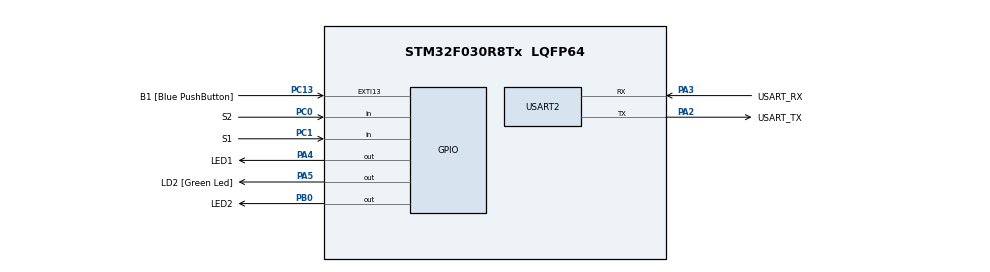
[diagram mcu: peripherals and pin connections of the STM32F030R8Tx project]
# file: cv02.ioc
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Mcu.Family=STM32F0
Mcu.Name=STM32F030R8Tx
Mcu.Package=LQFP64
PA13.GPIO_Label=TMS
PA13.Mode=Serial_Wire
PA13.Signal=SYS_SWDIO
PA14.GPIO_Label=TCK
PA14.Mode=Serial_Wire
PA14.Signal=SYS_SWCLK
PA2.GPIO_Label=USART_TX
PA2.GPIO_Mode=GPIO_MODE_AF_PP
PA2.GPIO_PuPd=GPIO_NOPULL
PA2.GPIO_Speed=GPIO_SPEED_FREQ_LOW
PA2.Mode=Asynchronous
PA2.Signal=USART2_TX
PA3.GPIO_Label=USART_RX
PA3.GPIO_Mode=GPIO_MODE_AF_PP
PA3.GPIO_PuPd=GPIO_NOPULL
PA3.GPIO_Speed=GPIO_SPEED_FREQ_LOW
PA3.Mode=Asynchronous
PA3.Signal=USART2_RX
PA4.GPIO_Label=LED1
PA4.Signal=GPIO_Output
PA5.GPIO_Label=LD2 [Green Led]
PA5.GPIO_Mode=GPIO_MODE_OUTPUT_PP
PA5.GPIO_PuPd=GPIO_NOPULL
PA5.GPIO_Speed=GPIO_SPEED_FREQ_LOW
PA5.Signal=GPIO_Output
PB0.GPIO_Label=LED2
PB0.Signal=GPIO_Output
PC0.GPIO_Label=S2
PC0.Signal=GPIO_Input
PC1.GPIO_Label=S1
PC1.GPIO_PuPd=GPIO_PULLUP
PC1.Signal=GPIO_Input
PC13.GPIO_Label=B1 [Blue PushButton]
PC13.GPIO_ModeDefaultEXTI=GPIO_MODE_IT_FALLING
PC13.Signal=GPXTI13
PC14-OSC32_IN.Mode=LSE-External-Oscillator
PC14-OSC32_IN.Signal=RCC_OSC32_IN
PC15-OSC32_OUT.Mode=LSE-External-Oscillator
PC15-OSC32_OUT.Signal=RCC_OSC32_OUT
PF0-OSC_IN.Mode=HSE-External-Clock-Source
PF0-OSC_IN.Signal=RCC_OSC_IN
PF1-OSC_OUT.Signal=RCC_OSC_OUT
ProjectManager.HeapSize=0x200
ProjectManager.StackSize=0x400
ProjectManager.TargetToolchain=STM32CubeIDE
RCC.AHBFreq_Value=48000000
RCC.APB1Freq_Value=48000000
RCC.APB1TimFreq_Value=48000000
RCC.HCLKFreq_Value=48000000
RCC.PLLMUL=RCC_PLL_MUL12
RCC.SYSCLKFreq_VALUE=48000000
RCC.SYSCLKSource=RCC_SYSCLKSOURCE_PLLCLK
USART2.VirtualMode-Asynchronous=VM_ASYNC
board=NUCLEO-F030R8

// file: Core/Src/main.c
/* USER CODE BEGIN Header */
/**
  ******************************************************************************
  * @file           : main.c
  * @brief          : Main program body
  ******************************************************************************
  * @attention
  *
  * Copyright (c) 2023 STMicroelectronics.
  * All rights reserved.
  *
  * This software is licensed under terms that can be found in the LICENSE file
  * in the root directory of this software component.
  * If no LICENSE file comes with this software, it is provided AS-IS.
  *
  ******************************************************************************
  */
/* USER CODE END Header */
#include "main.h"

/* USER CODE BEGIN PD */
#define LED_TIME_BLINK 300 // direktiva pre preprocesor, nahradzuje text v ramci zdrojoveho kodu a prepisuje ho na definovanú hodnotu
#define LED_TIME_LONG 1000
#define LED_TIME_SHORT 100
#define BTN_PERIOD_S2 40
#define BTN_PERIOD_S1 5
/* USER CODE END PD */

void SystemClock_Config(void);
static void MX_GPIO_Init(void);
static void MX_USART2_UART_Init(void);

/* USER CODE BEGIN 0 */
volatile uint32_t Tick;
/* USER CODE END 0 */

int main(void)
{

  /* MCU Configuration--------------------------------------------------------*/

  /* Reset of all peripherals, Initializes the Flash interface and the Systick. */
  LL_APB1_GRP2_EnableClock(LL_APB1_GRP2_PERIPH_SYSCFG);
  LL_APB1_GRP1_EnableClock(LL_APB1_GRP1_PERIPH_PWR);

  /* Configure the system clock */
  SystemClock_Config();

  /* Initialize all configured peripherals */
  MX_GPIO_Init();
  MX_USART2_UART_Init();
  /* USER CODE BEGIN 2 */
  LL_SYSTICK_EnableIT();
  /* USER CODE END 2 */

  /* Infinite loop */
  /* USER CODE BEGIN WHILE */
  while (1)
  {
	  blikac();
	  tlacitka();
    /* USER CODE END WHILE */

  }
}

void SystemClock_Config(void)
{
  LL_FLASH_SetLatency(LL_FLASH_LATENCY_1);
  while(LL_FLASH_GetLatency() != LL_FLASH_LATENCY_1)
  {
  }
  LL_RCC_HSI_Enable();

   /* Wait till HSI is ready */
  while(LL_RCC_HSI_IsReady() != 1)
  {

  }
  LL_RCC_HSI_SetCalibTrimming(16);
  LL_RCC_PLL_ConfigDomain_SYS(LL_RCC_PLLSOURCE_HSI_DIV_2, LL_RCC_PLL_MUL_12);
  LL_RCC_PLL_Enable();

   /* Wait till PLL is ready */
  while(LL_RCC_PLL_IsReady() != 1)
  {

  }
  LL_RCC_SetAHBPrescaler(LL_RCC_SYSCLK_DIV_1);
  LL_RCC_SetAPB1Prescaler(LL_RCC_APB1_DIV_1);
  LL_RCC_SetSysClkSource(LL_RCC_SYS_CLKSOURCE_PLL);

   /* Wait till System clock is ready */
  while(LL_RCC_GetSysClkSource() != LL_RCC_SYS_CLKSOURCE_STATUS_PLL)
  {

  }
  LL_Init1msTick(48000000);
  LL_SetSystemCoreClock(48000000);
}

static void MX_USART2_UART_Init(void)
{

  LL_USART_InitTypeDef USART_InitStruct = {0};

  LL_GPIO_InitTypeDef GPIO_InitStruct = {0};

  /* Peripheral clock enable */
  LL_APB1_GRP1_EnableClock(LL_APB1_GRP1_PERIPH_USART2);

  LL_AHB1_GRP1_EnableClock(LL_AHB1_GRP1_PERIPH_GPIOA);
  /**USART2 GPIO Configuration
  PA2   ------> USART2_TX
  PA3   ------> USART2_RX
  */
  GPIO_InitStruct.Pin = USART_TX_Pin;
  GPIO_InitStruct.Mode = LL_GPIO_MODE_ALTERNATE;
  GPIO_InitStruct.Speed = LL_GPIO_SPEED_FREQ_LOW;
  GPIO_InitStruct.OutputType = LL_GPIO_OUTPUT_PUSHPULL;
  GPIO_InitStruct.Pull = LL_GPIO_PULL_NO;
  GPIO_InitStruct.Alternate = LL_GPIO_AF_1;
  LL_GPIO_Init(USART_TX_GPIO_Port, &GPIO_InitStruct);

  GPIO_InitStruct.Pin = USART_RX_Pin;
  GPIO_InitStruct.Mode = LL_GPIO_MODE_ALTERNATE;
  GPIO_InitStruct.Speed = LL_GPIO_SPEED_FREQ_LOW;
  GPIO_InitStruct.OutputType = LL_GPIO_OUTPUT_PUSHPULL;
  GPIO_InitStruct.Pull = LL_GPIO_PULL_NO;
  GPIO_InitStruct.Alternate = LL_GPIO_AF_1;
  LL_GPIO_Init(USART_RX_GPIO_Port, &GPIO_InitStruct);

  USART_InitStruct.BaudRate = 38400;
  USART_InitStruct.DataWidth = LL_USART_DATAWIDTH_8B;
  USART_InitStruct.StopBits = LL_USART_STOPBITS_1;
  USART_InitStruct.Parity = LL_USART_PARITY_NONE;
  USART_InitStruct.TransferDirection = LL_USART_DIRECTION_TX_RX;
  USART_InitStruct.HardwareFlowControl = LL_USART_HWCONTROL_NONE;
  USART_InitStruct.OverSampling = LL_USART_OVERSAMPLING_16;
  LL_USART_Init(USART2, &USART_InitStruct);
  LL_USART_DisableIT_CTS(USART2);
  LL_USART_ConfigAsyncMode(USART2);
  LL_USART_Enable(USART2);

}

static void MX_GPIO_Init(void)
{
  LL_EXTI_InitTypeDef EXTI_InitStruct = {0};
  LL_GPIO_InitTypeDef GPIO_InitStruct = {0};

  /* GPIO Ports Clock Enable */
  LL_AHB1_GRP1_EnableClock(LL_AHB1_GRP1_PERIPH_GPIOC);
  LL_AHB1_GRP1_EnableClock(LL_AHB1_GRP1_PERIPH_GPIOF);
  LL_AHB1_GRP1_EnableClock(LL_AHB1_GRP1_PERIPH_GPIOA);
  LL_AHB1_GRP1_EnableClock(LL_AHB1_GRP1_PERIPH_GPIOB);

  /**/
  LL_GPIO_ResetOutputPin(LED1_GPIO_Port, LED1_Pin);

  /**/
  LL_GPIO_ResetOutputPin(LD2_GPIO_Port, LD2_Pin);

  /**/
  LL_GPIO_ResetOutputPin(LED2_GPIO_Port, LED2_Pin);

  /**/
  LL_SYSCFG_SetEXTISource(LL_SYSCFG_EXTI_PORTC, LL_SYSCFG_EXTI_LINE13);

  /**/
  LL_GPIO_SetPinPull(B1_GPIO_Port, B1_Pin, LL_GPIO_PULL_NO);

  /**/
  LL_GPIO_SetPinMode(B1_GPIO_Port, B1_Pin, LL_GPIO_MODE_INPUT);

  /**/
  EXTI_InitStruct.Line_0_31 = LL_EXTI_LINE_13;
  EXTI_InitStruct.LineCommand = ENABLE;
  EXTI_InitStruct.Mode = LL_EXTI_MODE_IT;
  EXTI_InitStruct.Trigger = LL_EXTI_TRIGGER_FALLING;
  LL_EXTI_Init(&EXTI_InitStruct);

  /**/
  GPIO_InitStruct.Pin = S2_Pin;
  GPIO_InitStruct.Mode = LL_GPIO_MODE_INPUT;
  GPIO_InitStruct.Pull = LL_GPIO_PULL_NO;
  LL_GPIO_Init(S2_GPIO_Port, &GPIO_InitStruct);

  /**/
  GPIO_InitStruct.Pin = S1_Pin;
  GPIO_InitStruct.Mode = LL_GPIO_MODE_INPUT;
  GPIO_InitStruct.Pull = LL_GPIO_PULL_UP;
  LL_GPIO_Init(S1_GPIO_Port, &GPIO_InitStruct);

  /**/
  GPIO_InitStruct.Pin = LED1_Pin;
  GPIO_InitStruct.Mode = LL_GPIO_MODE_OUTPUT;
  GPIO_InitStruct.Speed = LL_GPIO_SPEED_FREQ_LOW;
  GPIO_InitStruct.OutputType = LL_GPIO_OUTPUT_PUSHPULL;
  GPIO_InitStruct.Pull = LL_GPIO_PULL_NO;
  LL_GPIO_Init(LED1_GPIO_Port, &GPIO_InitStruct);

  /**/
  GPIO_InitStruct.Pin = LD2_Pin;
  GPIO_InitStruct.Mode = LL_GPIO_MODE_OUTPUT;
  GPIO_InitStruct.Speed = LL_GPIO_SPEED_FREQ_LOW;
  GPIO_InitStruct.OutputType = LL_GPIO_OUTPUT_PUSHPULL;
  GPIO_InitStruct.Pull = LL_GPIO_PULL_NO;
  LL_GPIO_Init(LD2_GPIO_Port, &GPIO_InitStruct);

  /**/
  GPIO_InitStruct.Pin = LED2_Pin;
  GPIO_InitStruct.Mode = LL_GPIO_MODE_OUTPUT;
  GPIO_InitStruct.Speed = LL_GPIO_SPEED_FREQ_LOW;
  GPIO_InitStruct.OutputType = LL_GPIO_OUTPUT_PUSHPULL;
  GPIO_InitStruct.Pull = LL_GPIO_PULL_NO;
  LL_GPIO_Init(LED2_GPIO_Port, &GPIO_InitStruct);

}

/* USER CODE BEGIN 4 */
void blikac(void) {
	static uint32_t delay;

	if (Tick > delay + LED_TIME_BLINK) {
		delay = Tick;
		LL_GPIO_TogglePin(LED1_GPIO_Port, LED1_Pin);

	}
}

void tlacitka(void) {
	static uint16_t debounce = 0xFFFF;
	static uint32_t off_time;
	static uint32_t last_time_s2;
	static uint32_t last_time_s1;

	static uint32_t old_s2;
	uint32_t new_s2 = LL_GPIO_IsInputPinSet(S2_GPIO_Port, S2_Pin);

	if (Tick > off_time) {
		LL_GPIO_ResetOutputPin(LED2_GPIO_Port, LED2_Pin);
	}

	if (Tick > last_time_s2 + BTN_PERIOD_S2) {
		last_time_s2 = Tick;

		if (old_s2 && !new_s2) {
			LL_GPIO_SetOutputPin(LED2_GPIO_Port, LED2_Pin);
			off_time = Tick + LED_TIME_SHORT;
		}
		old_s2 = new_s2;
	}

	if (Tick > last_time_s1 + BTN_PERIOD_S1) {
		last_time_s1 = Tick;
		debounce = (debounce << 1) + LL_GPIO_IsInputPinSet(S1_GPIO_Port, S1_Pin);

		if (debounce == 0x7FFF) {
			LL_GPIO_SetOutputPin(LED2_GPIO_Port, LED2_Pin);
			off_time = Tick + LED_TIME_LONG;
		}
	}
}
/* USER CODE END 4 */

void Error_Handler(void)
{
  __disable_irq();
  while (1)
  {
  }
}
